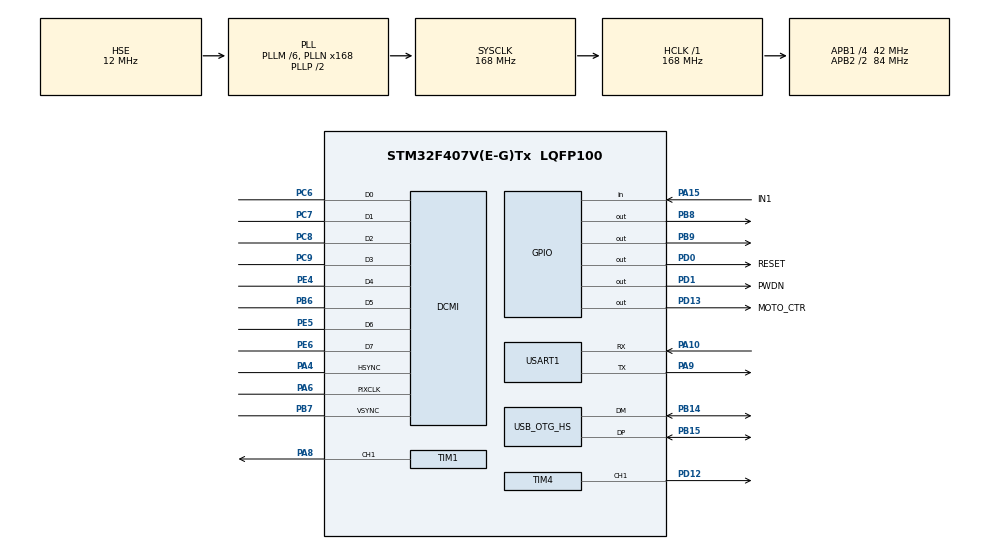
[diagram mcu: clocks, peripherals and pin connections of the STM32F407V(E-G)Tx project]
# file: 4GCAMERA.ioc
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DCMI.JPEGMode=DCMI_JPEG_ENABLE
DCMI.PCKPolarity=DCMI_PCKPOLARITY_RISING
Dma.DCMI.0.Direction=DMA_PERIPH_TO_MEMORY
Dma.DCMI.0.FIFOMode=DMA_FIFOMODE_ENABLE
Dma.DCMI.0.FIFOThreshold=DMA_FIFO_THRESHOLD_HALFFULL
Dma.DCMI.0.Instance=DMA2_Stream1
Dma.DCMI.0.MemBurst=DMA_MBURST_SINGLE
Dma.DCMI.0.MemDataAlignment=DMA_MDATAALIGN_WORD
Dma.DCMI.0.MemInc=DMA_MINC_ENABLE
Dma.DCMI.0.Mode=DMA_CIRCULAR
Dma.DCMI.0.PeriphBurst=DMA_PBURST_SINGLE
Dma.DCMI.0.PeriphDataAlignment=DMA_PDATAALIGN_WORD
Dma.DCMI.0.PeriphInc=DMA_PINC_DISABLE
Dma.DCMI.0.Priority=DMA_PRIORITY_LOW
Dma.Request0=DCMI
Dma.Request1=TIM4_CH1
Dma.TIM4_CH1.1.Direction=DMA_MEMORY_TO_PERIPH
Dma.TIM4_CH1.1.FIFOMode=DMA_FIFOMODE_DISABLE
Dma.TIM4_CH1.1.Instance=DMA1_Stream0
Dma.TIM4_CH1.1.MemDataAlignment=DMA_MDATAALIGN_WORD
Dma.TIM4_CH1.1.MemInc=DMA_MINC_ENABLE
Dma.TIM4_CH1.1.Mode=DMA_NORMAL
Dma.TIM4_CH1.1.PeriphDataAlignment=DMA_PDATAALIGN_WORD
Dma.TIM4_CH1.1.PeriphInc=DMA_PINC_DISABLE
Dma.TIM4_CH1.1.Priority=DMA_PRIORITY_LOW
FREERTOS.Tasks01=defaultTask,24,128,StartDefaultTask,Default,NULL,Dynamic,NULL,NULL;cmdAnalysis,31,128,StartCmdAnalysis,Default,NULL,Dynamic,NULL,NULL;sendDataTask,30,128,StartSendDataTask,Default,NULL,Dynamic,NULL,NULL;ledTask,15,128,StartLedTask,Default,NULL,Dynamic,NULL,NULL
FREERTOS.configENABLE_FPU=1
Mcu.Family=STM32F4
Mcu.Name=STM32F407V(E-G)Tx
Mcu.Package=LQFP100
NVIC.DCMI_IRQn=true\:5\:0\:false\:false\:true\:true\:true\:true\:true
NVIC.DMA1_Stream0_IRQn=true\:5\:0\:false\:false\:true\:true\:false\:true\:true
NVIC.DMA2_Stream1_IRQn=true\:5\:0\:false\:false\:true\:true\:false\:true\:true
NVIC.OTG_HS_IRQn=true\:5\:0\:false\:false\:true\:true\:false\:true\:true
NVIC.PriorityGroup=NVIC_PRIORITYGROUP_4
NVIC.TIM8_TRG_COM_TIM14_IRQn=true\:15\:0\:false\:false\:true\:false\:false\:true\:true
NVIC.TIM8_UP_TIM13_IRQn=true\:9\:0\:true\:false\:true\:false\:true\:true\:true
NVIC.TimeBase=TIM8_TRG_COM_TIM14_IRQn
NVIC.TimeBaseIP=TIM14
NVIC.USART1_IRQn=true\:5\:0\:false\:false\:true\:true\:true\:true\:true
PA10.Mode=Asynchronous
PA10.Signal=USART1_RX
PA13.Mode=Serial_Wire
PA13.Signal=SYS_JTMS-SWDIO
PA14.Mode=Serial_Wire
PA14.Signal=SYS_JTCK-SWCLK
PA15.GPIO_Label=IN1
PA15.GPIO_Mode=GPIO_MODE_INPUT
PA15.GPIO_PuPd=GPIO_NOPULL
PA15.Signal=GPIO_Input
PA4.Mode=Slave_8_bits_External_Synchro
PA4.Signal=DCMI_HSYNC
PA6.Mode=Slave_8_bits_External_Synchro
PA6.Signal=DCMI_PIXCLK
PA8.Signal=S_TIM1_CH1
PA9.Mode=Asynchronous
PA9.Signal=USART1_TX
PB14.Mode=Device_Only_FS
PB14.Signal=USB_OTG_HS_DM
PB15.Mode=Device_Only_FS
PB15.Signal=USB_OTG_HS_DP
PB6.Mode=Slave_8_bits_External_Synchro
PB6.Signal=DCMI_D5
PB7.Mode=Slave_8_bits_External_Synchro
PB7.Signal=DCMI_VSYNC
PB8.Signal=GPIO_Output
PB9.Signal=GPIO_Output
PC6.Mode=Slave_8_bits_External_Synchro
PC6.Signal=DCMI_D0
PC7.Mode=Slave_8_bits_External_Synchro
PC7.Signal=DCMI_D1
PC8.Mode=Slave_8_bits_External_Synchro
PC8.Signal=DCMI_D2
PC9.Mode=Slave_8_bits_External_Synchro
PC9.Signal=DCMI_D3
PD0.GPIO_Label=RESET
PD0.GPIO_PuPd=GPIO_PULLUP
PD0.GPIO_Speed=GPIO_SPEED_FREQ_VERY_HIGH
PD0.Signal=GPIO_Output
PD1.GPIO_Label=PWDN
PD1.GPIO_ModeDefaultOutputPP=GPIO_MODE_OUTPUT_PP
PD1.GPIO_PuPd=GPIO_PULLUP
PD1.GPIO_Speed=GPIO_SPEED_FREQ_VERY_HIGH
PD1.PinState=GPIO_PIN_RESET
PD1.Signal=GPIO_Output
PD12.Signal=S_TIM4_CH1
PD13.GPIO_Label=MOTO_CTR
PD13.GPIO_ModeDefaultOutputPP=GPIO_MODE_OUTPUT_PP
PD13.GPIO_PuPd=GPIO_PULLUP
PD13.GPIO_Speed=GPIO_SPEED_FREQ_VERY_HIGH
PD13.PinState=GPIO_PIN_RESET
PD13.Signal=GPIO_Output
PE4.Mode=Slave_8_bits_External_Synchro
PE4.Signal=DCMI_D4
PE5.Mode=Slave_8_bits_External_Synchro
PE5.Signal=DCMI_D6
PE6.Mode=Slave_8_bits_External_Synchro
PE6.Signal=DCMI_D7
PH0-OSC_IN.Mode=HSE-External-Oscillator
PH0-OSC_IN.Signal=RCC_OSC_IN
PH1-OSC_OUT.Mode=HSE-External-Oscillator
PH1-OSC_OUT.Signal=RCC_OSC_OUT
ProjectManager.HeapSize=0x200
ProjectManager.StackSize=0x400
ProjectManager.TargetToolchain=MDK-ARM V5.32
RCC.48MHZClocksFreq_Value=48000000
RCC.AHBFreq_Value=168000000
RCC.APB1CLKDivider=RCC_HCLK_DIV4
RCC.APB1Freq_Value=42000000
RCC.APB1TimFreq_Value=84000000
RCC.APB2CLKDivider=RCC_HCLK_DIV2
RCC.APB2Freq_Value=84000000
RCC.APB2TimFreq_Value=168000000
RCC.CortexFreq_Value=168000000
RCC.HCLKFreq_Value=168000000
RCC.HSE_VALUE=12000000
RCC.HSI_VALUE=16000000
RCC.LSE_VALUE=32768
RCC.PLLM=6
RCC.PLLN=168
RCC.PLLQ=7
RCC.SYSCLKFreq_VALUE=168000000
RCC.SYSCLKSource=RCC_SYSCLKSOURCE_PLLCLK
RCC.VCOOutputFreq_Value=336000000
SH.S_TIM1_CH1.0=TIM1_CH1,PWM Generation1 CH1
SH.S_TIM4_CH1.0=TIM4_CH1,PWM Generation1 CH1
TIM1.AutoReloadPreload=TIM_AUTORELOAD_PRELOAD_ENABLE
TIM1.Channel-PWM\ Generation1\ CH1=TIM_CHANNEL_1
TIM1.ClockDivision=TIM_CLOCKDIVISION_DIV1
TIM1.Period=99
TIM1.Prescaler=1679
TIM13.Period=9999
TIM13.Prescaler=8399
TIM4.Channel-PWM\ Generation1\ CH1=TIM_CHANNEL_1
TIM4.Period=104
USART1.VirtualMode=VM_ASYNC
USB_DEVICE.CLASS_NAME_HS=CDC
USB_DEVICE.VirtualMode-CDC_HS=Cdc
USB_DEVICE.VirtualModeHS=Cdc_HS
USB_OTG_HS.VirtualMode-Device_Only_FS=Device_Only_FS
VP_FREERTOS_VS_CMSIS_V2.Mode=CMSIS_V2
VP_SYS_VS_tim14.Mode=TIM14
VP_TIM13_VS_ClockSourceINT.Mode=Enable_Timer
VP_TIM1_VS_ClockSourceINT.Mode=Internal
VP_USB_DEVICE_VS_USB_DEVICE_CDC_HS.Mode=CDC_HS
board=custom

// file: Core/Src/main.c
/* USER CODE BEGIN Header */
/**
  ******************************************************************************
  * @file           : main.c
  * @brief          : Main program body
  ******************************************************************************
  * @attention
  *
  * Copyright (c) 2023 STMicroelectronics.
  * All rights reserved.
  *
  * This software is licensed under terms that can be found in the LICENSE file
  * in the root directory of this software component.
  * If no LICENSE file comes with this software, it is provided AS-IS.
  *
  ******************************************************************************
  */
/* USER CODE END Header */
#include "main.h"
#include "cmsis_os.h"
#include "dcmi.h"
#include "dma.h"
#include "tim.h"
#include "usart.h"
#include "usb_device.h"
#include "gpio.h"

/* USER CODE BEGIN Includes */
#include "ov2640.h"
#include "ws2812b.h"
#include "stm32f4xx_it.h"
/* USER CODE END Includes */

/* USER CODE BEGIN PV */
_deviceInfo deviceAttributeInfo;
MY_TIM time;
unsigned int SysClockFreq = 0;
unsigned char DMA_END_FLAG = 0;
unsigned char jpeg_data_ok = 0;
unsigned int jpeg_data_len = 0;

unsigned int  dcmi_data_buff[PictureSize]={0};
unsigned int dcmi_dma_status;
uint32_t DCMI_RN = 0;  //row number
uint32_t DCMI_CN = 0;  //column number
uint32_t DCMI_RS = 0;  //row start
uint32_t DCMI_CS = 0;  //column start

char usbOK;
/* USER CODE END PV */

void SystemClock_Config(void);
void MX_FREERTOS_Init(void);

int main(void)
{

  /* MCU Configuration--------------------------------------------------------*/

  /* Reset of all peripherals, Initializes the Flash interface and the Systick. */
  HAL_Init();

  /* Configure the system clock */
  SystemClock_Config();

  /* Initialize all configured peripherals */
  MX_GPIO_Init();
  MX_DMA_Init();
  MX_DCMI_Init();
  MX_USART1_UART_Init();
  MX_TIM1_Init();
  MX_TIM4_Init();
  MX_TIM13_Init();
  /* USER CODE BEGIN 2 */
	HAL_TIM_Base_Start_IT(&htim13);//使能定时器13的定时中断
	HAL_TIM_PWM_Start(&htim1,TIM_CHANNEL_1);//使能TIM1 CH1 PWM输出

	HAL_UART_Receive_IT(&huart1,&uartTempData,1);//使能串口1的接收中断
	OV2640_Init();

//	OV2640_Contrast(0);//对比度
//	OV2640_Color_Saturation(2);//饱和度
//	OV2640_Special_Effects(2);//设置特效

	HAL_DMA_Start(&hdma_dcmi,(uint32_t)&DCMI->DR,(uint32_t)&dcmi_data_buff,PictureSize);
  DCMI_Start();

	RGB_BLACK(1);
  /* USER CODE END 2 */

  /* Init scheduler */
  osKernelInitialize();  /* Call init function for freertos objects (in freertos.c) */
  MX_FREERTOS_Init();

  /* Start scheduler */
  osKernelStart();

  /* We should never get here as control is now taken by the scheduler */
  /* Infinite loop */
  while (1)
  {

  }
}

void SystemClock_Config(void)
{
  RCC_OscInitTypeDef RCC_OscInitStruct = {0};
  RCC_ClkInitTypeDef RCC_ClkInitStruct = {0};

  /** Configure the main internal regulator output voltage
  */
  __HAL_RCC_PWR_CLK_ENABLE();
  __HAL_PWR_VOLTAGESCALING_CONFIG(PWR_REGULATOR_VOLTAGE_SCALE1);

  /** Initializes the RCC Oscillators according to the specified parameters
  * in the RCC_OscInitTypeDef structure.
  */
  RCC_OscInitStruct.OscillatorType = RCC_OSCILLATORTYPE_HSE;
  RCC_OscInitStruct.HSEState = RCC_HSE_ON;
  RCC_OscInitStruct.PLL.PLLState = RCC_PLL_ON;
  RCC_OscInitStruct.PLL.PLLSource = RCC_PLLSOURCE_HSE;
  RCC_OscInitStruct.PLL.PLLM = 6;
  RCC_OscInitStruct.PLL.PLLN = 168;
  RCC_OscInitStruct.PLL.PLLP = RCC_PLLP_DIV2;
  RCC_OscInitStruct.PLL.PLLQ = 7;
  if (HAL_RCC_OscConfig(&RCC_OscInitStruct) != HAL_OK)
  {
    Error_Handler();
  }

  /** Initializes the CPU, AHB and APB buses clocks
  */
  RCC_ClkInitStruct.ClockType = RCC_CLOCKTYPE_HCLK|RCC_CLOCKTYPE_SYSCLK
                              |RCC_CLOCKTYPE_PCLK1|RCC_CLOCKTYPE_PCLK2;
  RCC_ClkInitStruct.SYSCLKSource = RCC_SYSCLKSOURCE_PLLCLK;
  RCC_ClkInitStruct.AHBCLKDivider = RCC_SYSCLK_DIV1;
  RCC_ClkInitStruct.APB1CLKDivider = RCC_HCLK_DIV4;
  RCC_ClkInitStruct.APB2CLKDivider = RCC_HCLK_DIV2;

  if (HAL_RCC_ClockConfig(&RCC_ClkInitStruct, FLASH_LATENCY_5) != HAL_OK)
  {
    Error_Handler();
  }
}

void HAL_TIM_PeriodElapsedCallback(TIM_HandleTypeDef *htim)
{
  if (htim->Instance == TIM14) {
    HAL_IncTick();
  }
  /* USER CODE BEGIN Callback 1 */
	if (htim->Instance == TIM13)
	{
		time.second++;
		if(60 == time.second)
		{
			time.second=0;
			time.minute++;
		}
		if(60 == time.minute)
		{
			time.minute = 0;
			time.hour = 0;
		}
		if(24 == time.hour)
		{
			time.hour = 0;
		}
//		char string[100];
//		sprintf(string,"%02d:%02d:%02d\r\n",time.hour,time.minute,time.second);
//		if(1 == usbOK)
//			while(CDC_Transmit_HS((unsigned char *)string,strlen(string)) != USBD_OK){};
	}
  /* USER CODE END Callback 1 */
}

void Error_Handler(void)
{
  __disable_irq();
  while (1)
  {
  }
}

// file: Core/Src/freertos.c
/* USER CODE BEGIN Header */
/**
  ******************************************************************************
  * File Name          : freertos.c
  * Description        : Code for freertos applications
  ******************************************************************************
  * @attention
  *
  * Copyright (c) 2023 STMicroelectronics.
  * All rights reserved.
  *
  * This software is licensed under terms that can be found in the LICENSE file
  * in the root directory of this software component.
  * If no LICENSE file comes with this software, it is provided AS-IS.
  *
  ******************************************************************************
  */
/*
	StartCmdAnalysis	解算接收的数据
*/
/* USER CODE END Header */

#include "FreeRTOS.h"
#include "task.h"
#include "main.h"
#include "cmsis_os.h"

/* USER CODE BEGIN Includes */
#include "main.h"
#include "usart.h"
#include "ringBuffer.h"
#include "usbd_cdc_if.h"
#include "flash.h"
#include "tim.h"
/* USER CODE END Includes */

/* USER CODE BEGIN Variables */
const char AT_CDM_1[] = "AT+CREG?\r\n";
const char AT_CDM_2[] = "AT+CGATT?\r\n";
const char AT_CDM_3[] = "AT+CIPMUX=0\r\n";
const char AT_CDM_4[] = "AT+CIPMODE=1\r\n";
const char AT_CDM_5[] = "AT+CSTT\r\n";
const char AT_CDM_6[] = "AT+CIICR\r\n";
const char AT_CDM_7[] = "AT+CIFSR\r\n";
const char AT_CDM_8[] = "AT+CIPSTATUS\r\n";
char AT_CDM_9[50];
//const char AT_CDM_9[] = "AT+CIPSTART=\"TCP\",47.108.205.185,8000\r\n";

//const char AT_CDM_9[] = "AT+CIFSR\r\n";
//const char AT_CDM_10[] = "AT+CIFSR\r\n";
//const char AT_CDM_11[] = "AT+CIFSR\r\n";
/* USER CODE END Variables */
/* Definitions for defaultTask */
osThreadId_t defaultTaskHandle;
const osThreadAttr_t defaultTask_attributes = {
  .name = "defaultTask",
  .stack_size = 128 * 4,
  .priority = (osPriority_t) osPriorityNormal,
};
/* Definitions for cmdAnalysis */
osThreadId_t cmdAnalysisHandle;
const osThreadAttr_t cmdAnalysis_attributes = {
  .name = "cmdAnalysis",
  .stack_size = 128 * 4,
  .priority = (osPriority_t) osPriorityNormal7,
};
/* Definitions for sendDataTask */
osThreadId_t sendDataTaskHandle;
const osThreadAttr_t sendDataTask_attributes = {
  .name = "sendDataTask",
  .stack_size = 128 * 4,
  .priority = (osPriority_t) osPriorityNormal6,
};
/* Definitions for ledTask */
osThreadId_t ledTaskHandle;
const osThreadAttr_t ledTask_attributes = {
  .name = "ledTask",
  .stack_size = 128 * 4,
  .priority = (osPriority_t) osPriorityLow7,
};

/* USER CODE BEGIN FunctionPrototypes */
static void vcpDataAnalysis(_RingBuffer *ringbuffer);
static void usart1DataAnalysis(_RingBuffer *ringbuffer);
/* USER CODE END FunctionPrototypes */

void StartDefaultTask(void *argument);
void StartCmdAnalysis(void *argument);
void StartSendDataTask(void *argument);
void StartLedTask(void *argument);

extern void MX_USB_DEVICE_Init(void);
void MX_FREERTOS_Init(void); /* (MISRA C 2004 rule 8.1) */

void MX_FREERTOS_Init(void) {
  /* USER CODE BEGIN Init */
	taskENTER_CRITICAL();//进入灵临界区
  /* USER CODE END Init */

  /* Create the thread(s) */
  /* creation of defaultTask */
  defaultTaskHandle = osThreadNew(StartDefaultTask, NULL, &defaultTask_attributes);

  /* creation of cmdAnalysis */
  cmdAnalysisHandle = osThreadNew(StartCmdAnalysis, NULL, &cmdAnalysis_attributes);

  /* creation of sendDataTask */
  sendDataTaskHandle = osThreadNew(StartSendDataTask, NULL, &sendDataTask_attributes);

  /* creation of ledTask */
  ledTaskHandle = osThreadNew(StartLedTask, NULL, &ledTask_attributes);

  /* USER CODE BEGIN RTOS_EVENTS */
  /* add events, ... */
	taskEXIT_CRITICAL();//退出临界区
  /* USER CODE END RTOS_EVENTS */

}

void StartDefaultTask(void *argument)
{
  /* init code for USB_DEVICE */
  MX_USB_DEVICE_Init();
  /* USER CODE BEGIN StartDefaultTask */
  /* Infinite loop */
  for(;;)
  {
		usbOK = 1;

//		if(jpeg_data_ok == 1)
//		{
//			while(CDC_Transmit_HS((unsigned char *)dcmi_data_buff,jpeg_data_len * 4) != USBD_OK){};
//			jpeg_data_ok = 2;
//		}
    osDelay(1);
  }
  /* USER CODE END StartDefaultTask */
}

/* USER CODE BEGIN Header_StartCmdAnalysis */
/**
* @brief Function implementing the cmdAnalysis thread.
* @param argument: Not used
* @retval None
*/
char anlysis = 0;
/* USER CODE END Header_StartCmdAnalysis */
void StartCmdAnalysis(void *argument)
{
  /* USER CODE BEGIN StartCmdAnalysis */
	TickType_t	PreviousWakeTime = xTaskGetTickCount();
  /* Infinite loop */
//	WriteFlashData(ADDR_FLASH_SECTOR_7,(unsigned char *)deviceAttributeInfo.picFormat,sizeof(_deviceInfo));
	memcpy((unsigned char *)deviceAttributeInfo.picFormat,(uint32_t*)ADDR_FLASH_SECTOR_7,sizeof(_deviceInfo));
  for(;;)
  {
		vcpDataAnalysis(&VCP_RxRingBuffer);
		if(anlysis == 1)
			usart1DataAnalysis(&UART_RxRingBuffer);
    vTaskDelayUntil(&PreviousWakeTime, configTICK_RATE_HZ/100);//指令解析任务执行周期为10Hz
  }
  /* USER CODE END StartCmdAnalysis */
}

/* USER CODE BEGIN Header_StartSendDataTask */
/**
* @brief Function implementing the sendDataTask thread.
* @param argument: Not used
* @retval None
*/
char takePictureFlag = 0;
char openMotoFlag = 0;
/* USER CODE END Header_StartSendDataTask */
void StartSendDataTask(void *argument)
{
  /* USER CODE BEGIN StartSendDataTask */
	char frameBuffer[100];
	unsigned int sendTcpDataLen = 0;
	HAL_UART_Transmit(&huart1,(const unsigned char *)"AT\r\n",4,0xFFFFFFFF);
	osDelay(2000);
	HAL_UART_Transmit(&huart1,(const unsigned char *)"AT\r\n",4,0xFFFFFFFF);
	osDelay(2000);
	HAL_UART_Transmit(&huart1,(const unsigned char *)"AT\r\n",4,0xFFFFFFFF);
	osDelay(2000);

	HAL_UART_Transmit(&huart1,(const unsigned char *)AT_CDM_1,strlen(AT_CDM_1),0xFFFFFFFF);
	osDelay(1000);
	HAL_UART_Transmit(&huart1,(const unsigned char *)AT_CDM_2,strlen(AT_CDM_2),0xFFFFFFFF);
	osDelay(1000);
	HAL_UART_Transmit(&huart1,(const unsigned char *)AT_CDM_3,strlen(AT_CDM_3),0xFFFFFFFF);
	osDelay(1000);
	HAL_UART_Transmit(&huart1,(const unsigned char *)AT_CDM_4,strlen(AT_CDM_4),0xFFFFFFFF);
	osDelay(1000);
	HAL_UART_Transmit(&huart1,(const unsigned char *)AT_CDM_5,strlen(AT_CDM_5),0xFFFFFFFF);
	osDelay(1000);
	HAL_UART_Transmit(&huart1,(const unsigned char *)AT_CDM_6,strlen(AT_CDM_6),0xFFFFFFFF);
	osDelay(1000);
	HAL_UART_Transmit(&huart1,(const unsigned char *)AT_CDM_7,strlen(AT_CDM_7),0xFFFFFFFF);
	osDelay(1000);
	HAL_UART_Transmit(&huart1,(const unsigned char *)AT_CDM_8,strlen(AT_CDM_8),0xFFFFFFFF);
	osDelay(1000);
	memset(AT_CDM_9,0,sizeof(AT_CDM_9));
	sprintf(AT_CDM_9,"AT+CIPSTART=\"TCP\",%s,%d\r\n",deviceAttributeInfo.UDP_serverIP,deviceAttributeInfo.UDP_serverPort);
	HAL_UART_Transmit(&huart1,(const unsigned char *)AT_CDM_9,strlen(AT_CDM_9),0xFFFFFFFF);
	osDelay(5000);
	anlysis = 1;

	memset(frameBuffer,0,100);/* 清空数组 */
	sendTcpDataLen = 1;
	frameBuffer[0] = sendTcpDataLen;
	frameBuffer[1] = sendTcpDataLen>>8;
	frameBuffer[2] = sendTcpDataLen>>16;
	frameBuffer[3] = sendTcpDataLen>>24;
	frameBuffer[4] = SET_CAMERA_DEVICE_FLAG;
	HAL_UART_Transmit(&huart1,(const unsigned char *)frameBuffer,5,0xFFFFFFFF);

	memset(frameBuffer,0,100);/* 清空数组 */
	sendTcpDataLen = 1 + strlen(deviceAttributeInfo.deviceID);
	frameBuffer[0] = sendTcpDataLen;
	frameBuffer[1] = sendTcpDataLen>>8;
	frameBuffer[2] = sendTcpDataLen>>16;
	frameBuffer[3] = sendTcpDataLen>>24;

	frameBuffer[4] = SET_CAMERA_DEVICE_ID;

	memcpy(&frameBuffer[5],&deviceAttributeInfo.deviceID,strlen(deviceAttributeInfo.deviceID));
	HAL_UART_Transmit(&huart1,(const unsigned char *)frameBuffer,5+strlen(deviceAttributeInfo.deviceID),0xFFFFFFFF);

  /* Infinite loop */
  for(;;)
  {
		/* 发送TCP心跳包 */
		memset(frameBuffer,0,100);/* 清空数组 */
		sendTcpDataLen = 1;
		frameBuffer[0] = sendTcpDataLen;
		frameBuffer[1] = sendTcpDataLen>>8;
		frameBuffer[2] = sendTcpDataLen>>16;
		frameBuffer[3] = sendTcpDataLen>>24;

		frameBuffer[4] = HERAT_BEAT_PACK;
		HAL_UART_Transmit(&huart1,(const unsigned char *)frameBuffer,5,0xFFFFFFFF);

/*******************************************************************************拍照**********************************************************************************************/
		if(takePictureFlag == 1)
		{
			__HAL_TIM_SetCompare(&htim1, TIM_CHANNEL_1, deviceAttributeInfo.ledFlashBrightness);

			unsigned int tryPic = deviceAttributeInfo.takePictureDelayTime * 10;
			while(tryPic)
			{
					jpeg_data_ok = 2;
					while(jpeg_data_ok != 1);
					vTaskDelay(100 /portTICK_PERIOD_MS);
					tryPic--;
			}

			if(jpeg_data_ok == 1)
			{
				unsigned char *p = (unsigned char *)dcmi_data_buff;
				int index = 0;
				while(p[0] != 0xff && p[1]!= 0xd8 && index < 100)
				{
					p++;
					index++;
				}

				memset(frameBuffer,0,100);/* 清空数组 */
				sendTcpDataLen = jpeg_data_len * 4 + 1 - index;
				frameBuffer[0] = sendTcpDataLen;
				frameBuffer[1] = sendTcpDataLen>>8;
				frameBuffer[2] = sendTcpDataLen>>16;
				frameBuffer[3] = sendTcpDataLen>>24;

				frameBuffer[4] = PICTURE_DATA;

        HAL_UART_Transmit(&huart1,(const unsigned char *)frameBuffer,5,0xFFFFFFFF);

				HAL_UART_Transmit(&huart1,(const unsigned char *)p,jpeg_data_len * 4 - index,0xFFFFFFFF);
				memset(dcmi_data_buff,0,PictureSize);/* 清空数组 */

				memset(frameBuffer,0,100);/* 清空数组 */
				sendTcpDataLen = 1;
				frameBuffer[0] = sendTcpDataLen;
				frameBuffer[1] = sendTcpDataLen>>8;
				frameBuffer[2] = sendTcpDataLen>>16;
				frameBuffer[3] = sendTcpDataLen>>24;

				frameBuffer[4] = CAMERA_TAKE_PICTURE_DONE;

       HAL_UART_Transmit(&huart1,(const unsigned char *)frameBuffer,5,0xFFFFFFFF);

//				while(CDC_Transmit_HS((unsigned char *)dcmi_data_buff,jpeg_data_len * 4) != USBD_OK){};

				__HAL_TIM_SetCompare(&htim1, TIM_CHANNEL_1, 0);
				jpeg_data_ok = 2;
			}
			takePictureFlag = 0;
		}
/*******************************************************************************外部电平检测**********************************************************************************************/
		static char keyFlag = 0;
		if(HAL_GPIO_ReadPin(IN1_GPIO_Port,IN1_Pin) == 0 && keyFlag == 0)/* 吸合检测到低电平，水位到达水位线 */
		{
				takePictureFlag = 1;
				keyFlag = 1;
//				espSendLogMessage(0xAA,MCU,CMD_LOG_MESSAGE,(char*)"ESP:外部触发拍照");
				HAL_GPIO_WritePin(MOTO_CTR_GPIO_Port, MOTO_CTR_Pin, GPIO_PIN_RESET);//检测到水位到达，立马关闭水泵
//				espSendLogMessage(0xAA,MCU,CMD_LOG_MESSAGE,(char*)"ESP:水泵关闭");
//				vTaskDelay(1000 / portTICK_PERIOD_MS);
		}
		else if(HAL_GPIO_ReadPin(IN1_GPIO_Port,IN1_Pin) == 1 && keyFlag == 1)/* 断开检测到高电平 */
		{
				keyFlag = 0;
		}
/*********************************************************************************继电器控制****************************************************************************************************/
		if(openMotoFlag == 1 && HAL_GPIO_ReadPin(IN1_GPIO_Port,IN1_Pin) == 1) /* 水位检测开关没有到达水位线，可以打开水泵 */
		{
				HAL_GPIO_WritePin(MOTO_CTR_GPIO_Port, MOTO_CTR_Pin, GPIO_PIN_SET);//打开水泵命令，打开水泵
				memset(frameBuffer,0,100);/* 清空数组 */
				sendTcpDataLen = 1;
				frameBuffer[0] = sendTcpDataLen;
				frameBuffer[1] = sendTcpDataLen>>8;
				frameBuffer[2] = sendTcpDataLen>>16;
				frameBuffer[3] = sendTcpDataLen>>24;

				frameBuffer[4] = OPEN_MOTO_SUCCESS_CMD;
				HAL_UART_Transmit(&huart1,(const unsigned char *)frameBuffer,5,0xFFFFFFFF);
//				if(tcpSendErr <= 0){espSendLogMessage(0xAA,MCU,CMD_LOG_MESSAGE,(char*)"ESP:3 TCP发送错误");vTaskDelay(1000 / portTICK_PERIOD_MS);esp_restart();}

//				espSendLogMessage(0xAA,MCU,CMD_LOG_MESSAGE,(char*)"ESP:水泵打开");
				openMotoFlag = 0;
		}
		else if(openMotoFlag == 1 && HAL_GPIO_ReadPin(IN1_GPIO_Port,IN1_Pin) == 0)
		{
//				ESP_LOGI("camera","水泵打开指令，外部检测到水位已到达");
				//此时就只执行拍照
				takePictureFlag = 1;
				openMotoFlag = 0;
		}

    osDelay(1000);
  }
  /* USER CODE END StartSendDataTask */
}

void StartLedTask(void *argument)
{
  for(;;)
  {
    osDelay(1);
  }
}

/* USER CODE BEGIN Application */
/*
	vcpDataAnalysis(_RingBuffer *ringbuffer)
	功能:解析USB虚拟串口接收的数据
*/
static void vcpDataAnalysis(_RingBuffer *ringbuffer)
{
	unsigned char *RxFrameData;/*存储解析帧的空间*/
	unsigned short FrameDataLen = ringbuffer->Lenght;
	if(xPortGetFreeHeapSize() >= FrameDataLen)
	{
		RxFrameData = (unsigned char *)pvPortMalloc(FrameDataLen);	/*为读取缓冲区中的所有数据申请内存*/
		if(ReadBytes(ringbuffer,RxFrameData,FrameDataLen) == 1)		/*读取缓冲区中的所有数据*/
		{
			/*读取到缓冲区的数据*/
			for(int i=0;i<FrameDataLen;i++)	/*遍历*/
			{
				if(RxFrameData[i] == 0xAA)			/*找帧头*/
				{
					if(FrameDataLen - i <= 3)		/*帧头后面无数据长度*/
					{
						WriteBytes(ringbuffer,&RxFrameData[i],FrameDataLen - i);/*未处理的数据写回缓冲区*/
						vPortFree(RxFrameData);  //释放内存
						return ;/*返回空数据*/
					}

					unsigned short FrameLen = RxFrameData[i+3];			/*得到帧数据内容长度*/

					if((FrameDataLen - i) >= (4 + FrameLen + 2))	/*剩余数据是否还有一帧的长度*/
					{
						if(FrameDataCheck( &RxFrameData[i] ) == 1)		/*校验帧数据*/
						{
							unsigned short OneFrameDataLen = 4 + FrameLen + 2;			/*返回帧总长*/
							if(RxFrameData[i+1] == PC)														/*是上位机发送的数据*/
							{
								switch (RxFrameData[i+2])
								{
										case CDM_WIFI_NAME:
										{
//																					memset(wifiName,0,sizeof(wifiName));
//																					memcpy((char *)wifiName, &RxFrameData[i+4],FrameLen);
												break;
										}
										case CMD_WIFI_PASSWORD:
										{
//																					memset(wifiPassword,0,sizeof(wifiPassword));
//																					memcpy((char *)wifiPassword, &RxFrameData[i+4],FrameLen);
												break;
										}
										case CMD_SERVER_IP:
										{
												memset(deviceAttributeInfo.UDP_serverIP,0,sizeof(deviceAttributeInfo.UDP_serverIP));
												memcpy((char *)deviceAttributeInfo.UDP_serverIP, &RxFrameData[i+4],FrameLen);
												break;
										}
										case CMD_DEVICE_ID:
										{
												memset(deviceAttributeInfo.deviceID,0,sizeof(deviceAttributeInfo.deviceID));
												memcpy((char *)deviceAttributeInfo.deviceID, &RxFrameData[i+4],FrameLen);
												break;
										}
										case CMD_SERVER_PORT:
										{
												char temp[10];
												memcpy((char *)temp, &RxFrameData[i+4],FrameLen);
												deviceAttributeInfo.UDP_serverPort = atoi(temp);
												break;
										}
										case CMD_PICTURE_SIZE:
										{
//																					camera_config.frame_size = RxFrameData[i+4] | RxFrameData[i+5] <<8;
												break;
										}
										case CMD_PICTURE_QUALITY:
										{
//																					camera_config.jpeg_quality = RxFrameData[i+4] | RxFrameData[i+5] <<8;
												break;
										}
										case CMD_SET_LIED_BRIGHTNESS:
										{
												deviceAttributeInfo.ledFlashBrightness = RxFrameData[i+4] | RxFrameData[i+5] <<8;
//																					ESP_LOGI("UART","灯的亮度为 = %d",deviceAttributeInfo.ledFlashBrightness);
												break;
										}
										case CMD_SET_TAKE_PICTURE_DELAY_TIME:
										{
												deviceAttributeInfo.takePictureDelayTime = RxFrameData[i+4] | RxFrameData[i+5] <<8;
//																					ESP_LOGI("UART","拍照延时 = %d",deviceAttributeInfo.takePictureDelayTime);
												break;
										}

										case CMD_SET_PARA_END:
										{
											WriteFlashData(ADDR_FLASH_SECTOR_7,(unsigned char *)deviceAttributeInfo.picFormat,sizeof(_deviceInfo));
//																					writeDeviceInfo();
//																					espSendLogMessage(0xAA,MCU,CMD_LOG_MESSAGE,(char*)"ESP:数据写入完成,2s后重启");
//																					ESP_LOGI("UART","数据写入完成,2s后重启");
//																					vTaskDelay(2000/portTICK_PERIOD_MS);
//																					esp_restart();/* 重启设备 */
												break;
										}
										case CMD_SHOW_DEVICE_INFO:
										{
//																					showEspInfo();
												break;
										}
										case CMD_RESET_DEVICE:
										{
//																					esp_restart();
												break;
										}
										case CMD_SET_RECORD_TIME:
										{
												if(deviceAttributeInfo.recordTimeIndex > 50)
												{
//																							espSendLogMessage(0xAA,MCU,CMD_LOG_MESSAGE,(char*)"ESP:超过最大设置定时分组，请删除重试");
														break;
												}
												memset((char *)deviceAttributeInfo.recordTime[deviceAttributeInfo.recordTimeIndex],0,6);
												memcpy((char *)deviceAttributeInfo.recordTime[deviceAttributeInfo.recordTimeIndex], &RxFrameData[i+4],FrameLen);
												deviceAttributeInfo.recordTime[deviceAttributeInfo.recordTimeIndex][5] = '\0';
												deviceAttributeInfo.recordTimeIndex++;
												deviceAttributeInfo.scheduledDeletion = 0;
												break;
										}
										case CMD_SET_DELAY_TIME:
										{
												deviceAttributeInfo.scheduledDeletion = RxFrameData[i+4] | RxFrameData[i+5] <<8;
//																					ESP_LOGI("info","scheduledDeletion = %d",deviceAttributeInfo.scheduledDeletion);
												for(int i=0;i<50;i++)/* 间隔定时时清除固定定时设置的时间 */
												{
														memset(deviceAttributeInfo.recordTime[i],0,6);
												}
										}
										default:
												break;
								}
							}
							i += OneFrameDataLen-1;										/*偏移*/
						}
					}
					else
					{
						WriteBytes(ringbuffer,&RxFrameData[i],FrameDataLen - i);/*未处理的数据写回缓冲区*/
						vPortFree(RxFrameData);  //释放内存
						return ;
					}
				}
			}
		}
		vPortFree(RxFrameData);  //释放内存
	}
}
/*
	usart1DataAnalysis(_RingBuffer *ringbuffer)
	功能:解析USART1串口接收的数据
*/
static void usart1DataAnalysis(_RingBuffer *ringbuffer)
{
	unsigned char *FrameData;                                               /*存储解析帧的空间*/
	unsigned short allFrameDataLen = ringbuffer->Lenght;               			/* 获取缓冲区中的存储的数据长度 */
	int dataIndex = 0;                                                      /* 数组中的偏移位置 */

	if(xPortGetFreeHeapSize() >= allFrameDataLen)                           /* 判断剩余内存是否大于申请内存 */
	{
			FrameData = (unsigned char *)pvPortMalloc(allFrameDataLen);	        /*为读取缓冲区中的所有数据申请内存*/
			if(ReadBytes(ringbuffer,FrameData,allFrameDataLen) == 1)		/*读取缓冲区中的所有数据*/
			{
					while(allFrameDataLen - dataIndex >= 4)/* 仍然可以得到数据长度 */
					{
							unsigned int frameDataLen = (int)FrameData[dataIndex + 0] |
																					(int)FrameData[dataIndex + 1] <<  8 |
																					(int)FrameData[dataIndex + 2] << 16 |
																					(int)FrameData[dataIndex + 3] << 24;/* 得到长度数据 */

							if(allFrameDataLen - dataIndex - 4 >= frameDataLen)/* 能得到数据内容 */
							{
									dataIndex += 4;
									switch(FrameData[dataIndex])
									{
											case CAMERA_TAKE_PICTURE:/* 拍照 */
											{
//												CDC_Transmit_HS("ok\r\n",4);//USART1接收数据转发到VCP发送
															takePictureFlag = 1;
//															espSendLogMessage(0xAA,MCU,CMD_LOG_MESSAGE,(char*)"ESP:收到拍照指令");
													break;
											}
											case OPEN_MOTO_CMD:
											{
															openMotoFlag = 1;
//															espSendLogMessage(0xAA,MCU,CMD_LOG_MESSAGE,(char*)"ESP:收到打开水泵指令");
													break;
											}
											case SET_RECORD_TIME_CMD:/* 设置固定定时 */
											{
													dataIndex++;
													if(deviceAttributeInfo.recordTimeIndex > 50)
													{
//																	espSendLogMessage(0xAA,MCU,CMD_LOG_MESSAGE,(char*)"ESP:超过最大设置定时分组，请删除重试");
															break;
													}
													memcpy((char *)deviceAttributeInfo.recordTime[deviceAttributeInfo.recordTimeIndex],
																			&FrameData[dataIndex],5);
													deviceAttributeInfo.recordTime[deviceAttributeInfo.recordTimeIndex][5] = '\0';

//															ESP_LOGI("TCP","收到数据:%s",(char *)deviceAttributeInfo.recordTime[deviceAttributeInfo.recordTimeIndex]);
													deviceAttributeInfo.recordTimeIndex++;

													deviceAttributeInfo.scheduledDeletion = 0;/* 固定定时时，间隔定时时间设置无效 */
													dataIndex--;
													// espSendLogMessage(0xAA,MCU,CMD_LOG_MESSAGE,(char*)"ESP:定时时间");
													break;
											}
											case SET_RECORD_TIME_DONE_CMD:
											{
//															ESP_LOGI("TCP","定时设置结束");
												deviceAttributeInfo.recordTimeIndex = 0;

//															writeDeviceInfo();/* 写入数据到NVS中保存 */
													break;
											}
											case SET_SCHEDULED_TIME_CMD:
											{
//															ESP_LOGI("TCP","间隔定时");
													deviceAttributeInfo.scheduledDeletion = (unsigned short)FrameData[dataIndex + 1] |
																																	(unsigned short)FrameData[dataIndex + 2]<<8;

													for(int i=0;i<50;i++)/* 间隔定时时清除固定定时设置的时间 */
													{
															memset(deviceAttributeInfo.recordTime[i],0,6);
													}
//															ESP_LOGI("TCP","scheduledDeletion = %d",deviceAttributeInfo.scheduledDeletion);
													break;
											}
											case SET_LIED_BRIGHTNESS_CMD:   /* 设置闪光灯亮度 */
											{
//															ESP_LOGI("TCP","设置闪光灯亮度");
													deviceAttributeInfo.ledFlashBrightness = (unsigned short)FrameData[dataIndex + 1] |
																																	(unsigned short)FrameData[dataIndex + 2]<<8;

//															ESP_LOGI("TCP","ledFlashBrightness = %d",deviceAttributeInfo.ledFlashBrightness);
													break;
											}
											case SET_TAKE_PICTURE_DELAY_TIME_CMD:    /* 设置拍照延时时间 */
											{
//															ESP_LOGI("TCP","拍照延时时间");
													deviceAttributeInfo.takePictureDelayTime = (unsigned short)FrameData[dataIndex + 1] |
																																	(unsigned short)FrameData[dataIndex + 2]<<8;

//															ESP_LOGI("TCP","takePictureDelayTime = %d",deviceAttributeInfo.takePictureDelayTime);
													break;
											}
											default:
											{
													break;
											}
									}
									dataIndex += frameDataLen;
							}
							else/* 有数据长度但是没有数据内容,继续接受数据,下一次解析 */
							{
									WriteBytes(ringbuffer,&FrameData[dataIndex],allFrameDataLen - dataIndex);/* 写入剩余数据 */
									break;
							}
					}
			}
			vPortFree(FrameData);  //释放内存
	}
}
/* USER CODE END Application */
